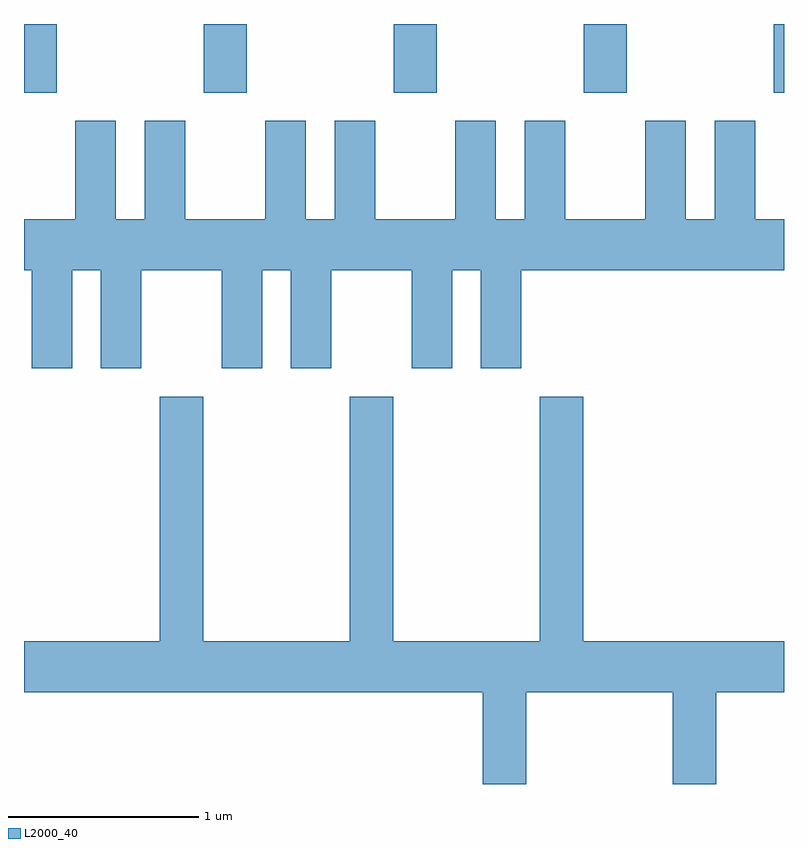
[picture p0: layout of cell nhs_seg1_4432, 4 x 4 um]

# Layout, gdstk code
import gdstk
lib = gdstk.Library(unit=1e-6, precision=1e-09)
def R(c, l, rs):  # rectangles x0, y0, x1, y1
    for r in rs: c.add(gdstk.rectangle(r[:2], r[2:], *l))
def A(c, l, x, y, w, h, nx, ny, dx, dy):  # array of equal rectangles
    R(c, l, [(x+i*dx, y+j*dy, x+i*dx+w, y+j*dy+h) for i in range(nx) for j in range(ny)])
def P(c, l, *ps):  # polygons
    for p in ps: c.add(gdstk.Polygon(p, *l))
L2000_40 = (2000, 40)

nhs_seg1_4432 = lib.new_cell('nhs_seg1_4432')
A(nhs_seg1_4432, L2000_40, 318.556, 949.351, 0.228, 0.361, 3, 1, 1, 0)
R(nhs_seg1_4432, L2000_40, [(317.611,949.351,317.784,949.712), (321.556,949.351,321.611,949.712)])
P(nhs_seg1_4432, L2000_40, [(320.094,949.204),(319.881,949.204),(319.881,948.684),(319.459,948.684),(319.459,949.204),(319.246,949.204),(319.246,948.684),(319.094,948.684),(319.094,949.204),(318.881,949.204),(318.881,948.684),(318.459,948.684),(318.459,949.204),(318.246,949.204),(318.246,948.684),(318.094,948.684),(318.094,949.204),(317.881,949.204),(317.881,948.684),(317.611,948.684),(317.611,948.416),(317.651,948.416),(317.651,947.901),(317.864,947.901),(317.864,948.416),(318.016,948.416),(318.016,947.901),(318.229,947.901),(318.229,948.416),(318.651,948.416),(318.651,947.901),(318.864,947.901),(318.864,948.416),(319.016,948.416),(319.016,947.901),(319.229,947.901),(319.229,948.416),(319.651,948.416),(319.651,947.901),(319.864,947.901),(319.864,948.416),(320.016,948.416),(320.016,947.901),(320.229,947.901),(320.229,948.416),(321.611,948.416),(321.611,948.684),(321.459,948.684),(321.459,949.204),(321.246,949.204),(321.246,948.684),(321.094,948.684),(321.094,949.204),(320.881,949.204),(320.881,948.684),(320.459,948.684),(320.459,949.204),(320.246,949.204),(320.246,948.684),(320.094,948.684)],
  [(320.254,946.196),(321.026,946.196),(321.026,945.712),(321.254,945.712),(321.254,946.196),(321.611,946.196),(321.611,946.464),(320.554,946.464),(320.554,947.749),(320.326,947.749),(320.326,946.464),(319.554,946.464),(319.554,947.749),(319.326,947.749),(319.326,946.464),(318.554,946.464),(318.554,947.749),(318.326,947.749),(318.326,946.464),(317.611,946.464),(317.611,946.196),(320.026,946.196),(320.026,945.712),(320.254,945.712)])

lib.write_gds('nhs_seg1_4432.gds')
